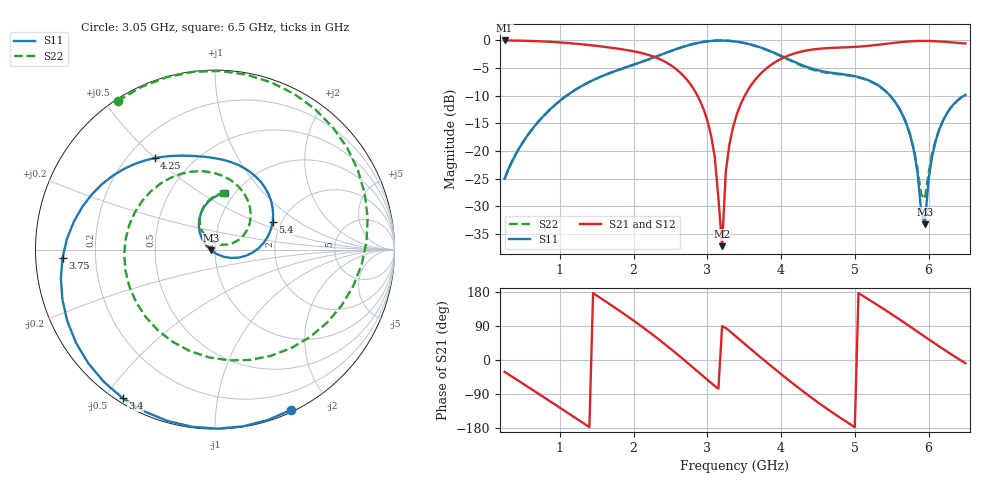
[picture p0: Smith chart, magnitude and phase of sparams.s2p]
! NobuRF pozar-ex5.2-stub-tuner: ports 1 "p1", 2 "p2"; 5800 + 6700 steps
# GHz S RI R 50
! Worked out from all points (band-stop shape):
!   126 points, 250 MHz to 6.5 GHz, reference 50 ohm
!   highest |S21| = -0.01 dB at 250 MHz (marker M1); lowest = -37.2 dB at 3.2 GHz (marker M2)
!   |S21| within 3 dB of the highest: start of sweep to 2.285 GHz; 4.052 GHz to end of sweep
!   lowest |S11| = -33.2 dB at 5.95 GHz (marker M3), VSWR 1.04, Z = 47.9 - j0.408 ohm
!   |S11| at or under -10 dB: start of sweep to 1.091 GHz; 5.479 GHz to 6.481 GHz (1.003 GHz wide, 16.8 % of centre)
!   |S22| runs from -28.7 to 0.0 dB; largest |S21 - S12| = 0.0013
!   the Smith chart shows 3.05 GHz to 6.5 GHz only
!   S11 on the Smith chart (normalised r, x): 3.05 GHz: 0.02, -1.58; 3.4 GHz: 0.02, -0.56; 3.75 GHz: 0.08, -0.03; 4.25 GHz: 0.31, +0.50; 5.4 GHz: 1.80, +0.64; 6.5 GHz: 0.91, +0.64
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0.25  -0.0235 -0.051  0.8545 -0.5174  0.8538 -0.5174  -0.035 -0.0439
0.75  -0.1913 -0.0511  -0.0717 -0.9773  -0.0715 -0.9776  -0.1819 0.0781
1.3  -0.2776 0.2715  -0.8871 -0.2499  -0.8867 -0.2498  0.095 0.3767
1.6  -0.1243 0.4673  -0.806 0.3399  -0.8063 0.3396  0.4206 0.2383
1.9  0.1423 0.5545  -0.3788 0.7263  -0.3786 0.7267  0.5354 -0.1997
2.35  0.6317 0.3718  0.4084 0.5426  0.408 0.5425  -0.1809 -0.7109
2.75  0.8548 -0.303  0.4118 -0.0771  0.4122 -0.0772  -0.9067 0.0277
3.05  0.421 -0.8943  0.0687 -0.1207  0.0682 -0.1208  -0.5421 0.8276
3.2  0.0166 -0.9974  0.000159 0.0138  2.42e-05 0.0143  -0.1214 0.9906
3.25  -0.1256 -0.9875  0.00615 0.0645  0.00625 0.065  0.028 0.9952
3.4  -0.5152 -0.8269  0.1071 0.1863  0.1076 0.1863  0.4433 0.866
3.75  -0.8495 -0.0459  0.5204 0.0242  0.5198 0.0243  0.8445 0.0455
4  -0.6262 0.3675  0.5428 -0.4114  0.5433 -0.411  0.5274 -0.4884
4.25  -0.3367 0.5095  0.1969 -0.7598  0.1968 -0.7604  -0.0343 -0.6003
4.45  -0.1636 0.5231  -0.2106 -0.8038  -0.2112 -0.8035  -0.3861 -0.3756
4.95  0.1663 0.4521  -0.8596 -0.1356  -0.8599 -0.136  -0.3026 0.3686
5.4  0.3213 0.1549  -0.6379 0.6728  -0.6375 0.6725  0.1593 0.3173
5.5  0.2956 0.075  -0.4836 0.8114  -0.4836 0.8108  0.1953 0.2333
5.75  0.1318 -0.0447  0.0314 0.9795  0.0311 0.9801  0.1308 0.0532
5.95  -0.0214 -0.00426  0.4715 0.8699  0.4721 0.8698  -0.00321 0.0368
6.1  -0.0844 0.0929  0.7336 0.6542  0.7336 0.6534  -0.0734 0.106
6.5  0.0567 0.3167  0.9281 -0.1384  0.9292 -0.1377  0.0469 0.3164
